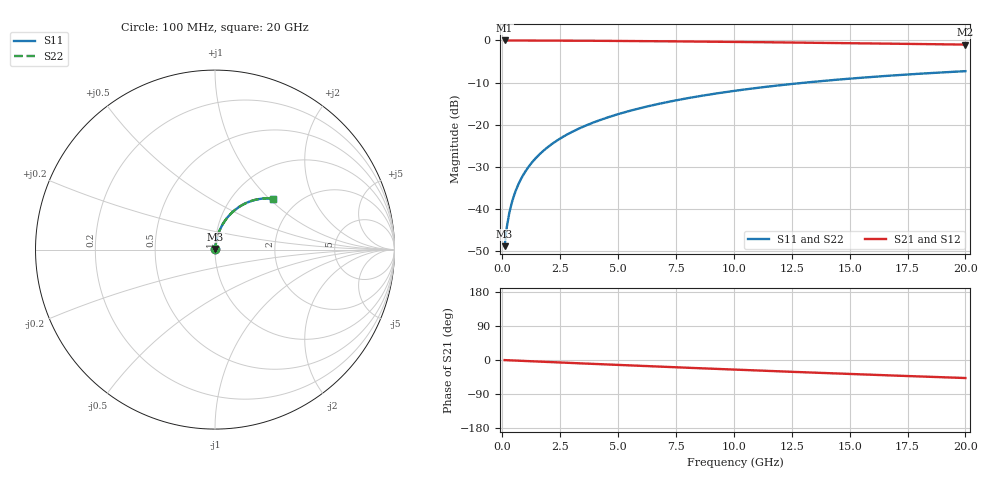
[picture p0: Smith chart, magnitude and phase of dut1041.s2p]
! Touchstone file exported from HFSS 2026.1.0
!  File:  C:/ffzhzh/LocalFiles/Ansys_Project_Files/temp_train_TMRDL_1041_1783160213_22436.aedt
!  Generated:  06:18:21 PM Jul  4, 2026
!  Design:  TMRDL
!  Project:  temp_train_TMRDL_1041_1783160213_22436
! Variables:
!  h_bsmrdl = 2um
!  h_ox = 20um
!  h_rdl = 5um
!  h_sub = 80um
!  h_tmrdl = 5.83um
!  h_tsv = 80um
!  h_via = 3um
!  l_bsmrdl = 300um
!  l_sub = 1109.58um
!  l_tmrdl = 709.58um
!  m_sub = 200um
!  pitch = 54.46um
!  r_tsv = 6um
!  s_tmrdl = 10um
!  w_bsmrdl = 18um
!  w_sub = 500um
!  w_tmrdl = 21.81um
!  x_tsv_center1 = 720.485um
!  x_tsv_center2 = 1038.485um
!  x_tsv_center3 = 1769.875um
!  x_tsv_center4 = 2087.875um
!  x_tsv_center5 = 2819.265um
!  x_tsv_center6 = 3137.265um
# GHz S MA R 50.000000
! Terminal data exported
! Port[1] = TM_RDL1_1_T1
! Port[2] = TM_RDL1_1_T2
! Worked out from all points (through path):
!   200 points, 100 MHz to 20 GHz, reference 50 ohm
!   highest |S21| = -0.02 dB at 100 MHz (marker M1); lowest = -1.0 dB at 20 GHz (marker M2)
!   group delay of S21, straight-line fit = 6.61 ps
!   lowest |S11| = -48.7 dB at 100 MHz (marker M3), VSWR 1.01, Z = 50.2 + j0.297 ohm
!   |S11| at or under -10 dB: start of sweep to 13.09 GHz
!   |S22| runs from -48.7 to -7.3 dB; largest |S21 - S12| = 1.9e-14
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0.1  0.003654 54.1  0.9979 -0.3  0.9979 -0.3  0.003654 54.1
! Gamma 0 0 0 0
! Port Impedance 50 0 50 0
0.2  0.006264 68.2  0.9977 -0.5  0.9977 -0.5  0.006264 68.2
0.3  0.008959 73.7  0.9976 -0.8  0.9976 -0.8  0.008959 73.7
0.4  0.01167 76.7  0.9975 -1.1  0.9975 -1.1  0.01167 76.7
0.5  0.01439 78.5  0.9974 -1.3  0.9974 -1.3  0.01439 78.5
0.7  0.01986 80.4  0.9972 -1.9  0.9972 -1.9  0.01986 80.4
0.8  0.0226 81.0  0.9971 -2.1  0.9971 -2.1  0.0226 81.0
1  0.0281 81.5  0.9968 -2.7  0.9968 -2.7  0.0281 81.5
1.2  0.03359 81.7  0.9965 -3.2  0.9965 -3.2  0.03359 81.8
1.4  0.03906 81.7  0.9962 -3.7  0.9962 -3.7  0.03906 81.7
1.7  0.04725 81.5  0.9956 -4.5  0.9956 -4.5  0.04725 81.5
2  0.05539 81.0  0.9949 -5.3  0.9949 -5.3  0.05539 81.0
2.7  0.07416 79.6  0.9931 -7.1  0.9931 -7.1  0.07416 79.7
3.5  0.09524 77.9  0.9906 -9.2  0.9906 -9.2  0.09523 77.9
4.2  0.1133 76.3  0.9881 -11.0  0.9881 -11.0  0.1133 76.3
5  0.1337 74.4  0.985 -13.0  0.985 -13.0  0.1337 74.4
6.8  0.1781 70.2  0.9769 -17.5  0.9769 -17.5  0.1781 70.2
8.3  0.2136 66.7  0.9691 -21.2  0.9691 -21.2  0.2136 66.7
10.1  0.2541 62.6  0.9587 -25.5  0.9587 -25.5  0.2541 62.6
13.4  0.3222 55.1  0.9373 -33.2  0.9373 -33.2  0.3222 55.1
16.7  0.3815 47.9  0.9144 -40.6  0.9144 -40.6  0.3815 48.0
20  0.4319 41.1  0.8916 -47.6  0.8916 -47.6  0.4319 41.1
